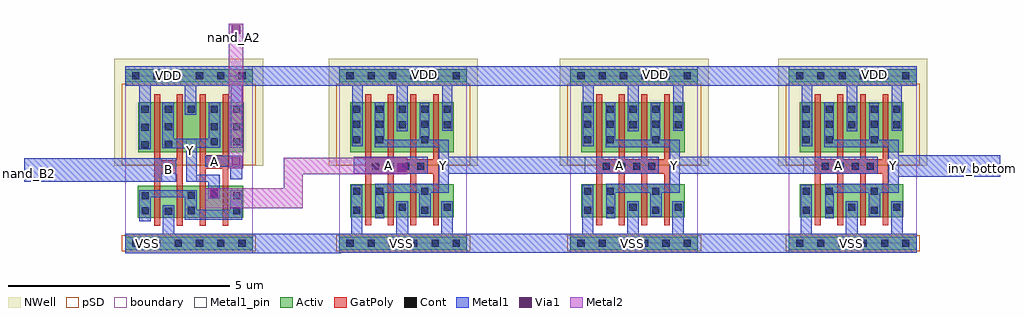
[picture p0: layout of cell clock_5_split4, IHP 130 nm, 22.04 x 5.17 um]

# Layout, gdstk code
import gdstk
lib = gdstk.Library(unit=1e-6, precision=1e-09)
def R(c, l, rs):  # rectangles x0, y0, x1, y1
    for r in rs: c.add(gdstk.rectangle(r[:2], r[2:], *l))
def A(c, l, x, y, w, h, nx, ny, dx, dy):  # array of equal rectangles
    R(c, l, [(x+i*dx, y+j*dy, x+i*dx+w, y+j*dy+h) for i in range(nx) for j in range(ny)])
def P(c, l, *ps):  # polygons
    for p in ps: c.add(gdstk.Polygon(p, *l))
Activ = (1, 0)
GatPoly = (5, 0)
Cont = (6, 0)
Metal1 = (8, 0)
Metal1_pin = (8, 2)
Metal2 = (10, 0)
pSD = (14, 0)
Via1 = (19, 0)
NWell = (31, 0)
boundary = (189, 4)

clock_5_split4 = lib.new_cell('clock_5_split4')
R(clock_5_split4, Activ, [(-1.173,-1.011,1.707,-0.711), (3.666,-1.011,6.546,-0.711), (8.881,-1.011,11.761,-0.711), (13.817,-1.011,16.697,-0.711), (-0.888,-0.286,1.497,0.434), (3.911,-0.271,6.251,0.469), (9.126,-0.271,11.466,0.469), (14.062,-0.271,16.402,0.469), (-0.873,1.199,1.507,2.319), (3.911,1.199,6.251,2.319), (9.126,1.199,11.466,2.319), (14.062,1.199,16.402,2.319), (-1.173,2.769,1.707,3.069), (3.666,2.769,6.546,3.069), (8.881,2.769,11.761,3.069), (13.817,2.769,16.697,3.069)])
P(clock_5_split4, GatPoly, [(-0.513,-0.466),(-0.513,2.499),(-0.383,2.499),(-0.383,1.014),(-0.003,1.014),(-0.003,2.499),(0.127,2.499),(0.127,-0.466),(-0.003,-0.466),(-0.003,0.704),(-0.383,0.704),(-0.383,-0.466)],
  [(0.517,-0.466),(0.517,2.499),(0.647,2.499),(0.647,1.129),(1.027,1.129),(1.027,2.499),(1.157,2.499),(1.157,-0.466),(1.027,-0.466),(1.027,0.824),(0.647,0.824),(0.647,-0.466)],
  [(4.251,-0.451),(4.251,2.499),(4.381,2.499),(4.381,1.039),(4.761,1.039),(4.761,2.499),(4.891,2.499),(4.891,1.039),(5.271,1.039),(5.271,2.499),(5.401,2.499),(5.401,1.039),(5.781,1.039),(5.781,2.499),(5.911,2.499),(5.911,-0.451),(5.781,-0.451),(5.781,0.709),(5.401,0.709),(5.401,-0.451),(5.271,-0.451),(5.271,0.709),(4.891,0.709),(4.891,-0.451),(4.761,-0.451),(4.761,0.709),(4.381,0.709),(4.381,-0.451)],
  [(9.466,-0.451),(9.466,2.499),(9.596,2.499),(9.596,1.039),(9.976,1.039),(9.976,2.499),(10.106,2.499),(10.106,1.039),(10.486,1.039),(10.486,2.499),(10.616,2.499),(10.616,1.039),(10.996,1.039),(10.996,2.499),(11.126,2.499),(11.126,-0.451),(10.996,-0.451),(10.996,0.709),(10.616,0.709),(10.616,-0.451),(10.486,-0.451),(10.486,0.709),(10.106,0.709),(10.106,-0.451),(9.976,-0.451),(9.976,0.709),(9.596,0.709),(9.596,-0.451)],
  [(14.402,-0.451),(14.402,2.499),(14.532,2.499),(14.532,1.039),(14.912,1.039),(14.912,2.499),(15.042,2.499),(15.042,1.039),(15.422,1.039),(15.422,2.499),(15.552,2.499),(15.552,1.039),(15.932,1.039),(15.932,2.499),(16.062,2.499),(16.062,-0.451),(15.932,-0.451),(15.932,0.709),(15.552,0.709),(15.552,-0.451),(15.422,-0.451),(15.422,0.709),(15.042,0.709),(15.042,-0.451),(14.912,-0.451),(14.912,0.709),(14.532,0.709),(14.532,-0.451)])
A(clock_5_split4, Cont, 0.427, -0.941, 0.16, 0.16, 3, 2, 0.48, 3.78)
A(clock_5_split4, Cont, 4.401, 0.794, 0.16, 0.16, 4, 1, 0.34, 0)
A(clock_5_split4, Cont, 9.616, 0.794, 0.16, 0.16, 4, 1, 0.34, 0)
A(clock_5_split4, Cont, 14.552, 0.794, 0.16, 0.16, 4, 1, 0.34, 0)
A(clock_5_split4, Cont, -0.273, 1.289, 0.16, 0.16, 1, 3, 0, 0.4)
A(clock_5_split4, Cont, 3.981, 2.084, 0.16, 0.16, 5, 1, 0.51, 0)
A(clock_5_split4, Cont, 9.196, 2.084, 0.16, 0.16, 5, 1, 0.51, 0)
A(clock_5_split4, Cont, 14.132, 2.084, 0.16, 0.16, 5, 1, 0.51, 0)
R(clock_5_split4, Cont, [(-1.013,-0.941,-0.853,-0.781), (-1.013,-0.941,-0.853,-0.781), (-0.533,-0.941,-0.373,-0.781), (-0.533,-0.941,-0.373,-0.781), (-0.053,-0.941,0.107,-0.781), (-0.053,-0.941,0.107,-0.781), (0.427,-0.941,0.587,-0.781), (3.826,-0.941,3.986,-0.781), (3.826,-0.941,3.986,-0.781), (4.306,-0.941,4.466,-0.781), (4.306,-0.941,4.466,-0.781), (4.786,-0.941,4.946,-0.781), (4.786,-0.941,4.946,-0.781), (5.266,-0.941,5.426,-0.781), (5.266,-0.941,5.426,-0.781), (5.746,-0.941,5.906,-0.781), (5.746,-0.941,5.906,-0.781), (6.226,-0.941,6.386,-0.781), (6.226,-0.941,6.386,-0.781), (9.041,-0.941,9.201,-0.781), (9.041,-0.941,9.201,-0.781), (9.521,-0.941,9.681,-0.781), (9.521,-0.941,9.681,-0.781), (10.001,-0.941,10.161,-0.781), (10.001,-0.941,10.161,-0.781), (10.481,-0.941,10.641,-0.781), (10.481,-0.941,10.641,-0.781), (10.961,-0.941,11.121,-0.781), (10.961,-0.941,11.121,-0.781), (11.441,-0.941,11.601,-0.781), (11.441,-0.941,11.601,-0.781), (13.977,-0.941,14.137,-0.781), (13.977,-0.941,14.137,-0.781), (14.457,-0.941,14.617,-0.781), (14.457,-0.941,14.617,-0.781), (14.937,-0.941,15.097,-0.781), (14.937,-0.941,15.097,-0.781), (15.417,-0.941,15.577,-0.781), (15.417,-0.941,15.577,-0.781), (15.897,-0.941,16.057,-0.781), (15.897,-0.941,16.057,-0.781), (16.377,-0.941,16.537,-0.781), (16.377,-0.941,16.537,-0.781), (-0.273,-0.216,-0.113,-0.056), (-0.793,-0.211,-0.633,-0.051), (1.267,-0.211,1.427,-0.051), (0.237,-0.201,0.397,-0.041), (3.981,-0.196,4.141,-0.036), (4.491,-0.196,4.651,-0.036), (5.511,-0.196,5.671,-0.036), (9.196,-0.196,9.356,-0.036), (9.706,-0.196,9.866,-0.036), (10.726,-0.196,10.886,-0.036), (14.132,-0.196,14.292,-0.036), (14.642,-0.196,14.802,-0.036), (15.662,-0.196,15.822,-0.036), (5.001,-0.126,5.161,0.034), (6.021,-0.126,6.181,0.034), (10.216,-0.126,10.376,0.034), (11.236,-0.126,11.396,0.034), (15.152,-0.126,15.312,0.034), (16.172,-0.126,16.332,0.034), (-0.798,0.129,-0.638,0.289), (1.267,0.129,1.427,0.289), (0.237,0.144,0.397,0.304), (0.762,0.144,0.922,0.304), (0.757,0.189,0.917,0.349), (3.981,0.229,4.141,0.389), (4.491,0.229,4.651,0.389), (5.511,0.229,5.671,0.389), (9.196,0.229,9.356,0.389), (9.706,0.229,9.866,0.389), (10.726,0.229,10.886,0.389), (14.132,0.229,14.292,0.389), (14.642,0.229,14.802,0.389), (15.662,0.229,15.822,0.389), (-0.273,0.779,-0.113,0.939), (0.757,0.899,0.917,1.059), (-0.803,1.279,-0.643,1.439), (0.757,1.349,0.917,1.509), (1.267,1.349,1.427,1.509), (3.981,1.394,4.141,1.554), (4.491,1.394,4.651,1.554), (5.511,1.394,5.671,1.554), (9.196,1.394,9.356,1.554), (9.706,1.394,9.866,1.554), (10.726,1.394,10.886,1.554), (14.132,1.394,14.292,1.554), (14.642,1.394,14.802,1.554), (15.662,1.394,15.822,1.554), (-0.803,1.679,-0.643,1.839), (0.757,1.689,0.917,1.849), (1.267,1.689,1.427,1.849), (5.001,1.734,5.161,1.894), (6.021,1.734,6.181,1.894), (10.216,1.734,10.376,1.894), (11.236,1.734,11.396,1.894), (15.152,1.734,15.312,1.894), (16.172,1.734,16.332,1.894), (3.981,1.744,4.141,1.904), (4.491,1.744,4.651,1.904), (5.511,1.744,5.671,1.904), (9.196,1.744,9.356,1.904), (9.706,1.744,9.866,1.904), (10.726,1.744,10.886,1.904), (14.132,1.744,14.292,1.904), (14.642,1.744,14.802,1.904), (15.662,1.744,15.822,1.904), (-0.803,2.089,-0.643,2.249), (0.237,2.089,0.397,2.249), (0.757,2.089,0.917,2.249), (1.267,2.089,1.427,2.249), (-1.013,2.839,-0.853,2.999), (-1.013,2.839,-0.853,2.999), (-0.533,2.839,-0.373,2.999), (-0.533,2.839,-0.373,2.999), (-0.053,2.839,0.107,2.999), (-0.053,2.839,0.107,2.999), (0.427,2.839,0.587,2.999), (3.826,2.839,3.986,2.999), (3.826,2.839,3.986,2.999), (4.306,2.839,4.466,2.999), (4.306,2.839,4.466,2.999), (4.786,2.839,4.946,2.999), (4.786,2.839,4.946,2.999), (5.266,2.839,5.426,2.999), (5.266,2.839,5.426,2.999), (5.746,2.839,5.906,2.999), (5.746,2.839,5.906,2.999), (6.226,2.839,6.386,2.999), (6.226,2.839,6.386,2.999), (9.041,2.839,9.201,2.999), (9.041,2.839,9.201,2.999), (9.521,2.839,9.681,2.999), (9.521,2.839,9.681,2.999), (10.001,2.839,10.161,2.999), (10.001,2.839,10.161,2.999), (10.481,2.839,10.641,2.999), (10.481,2.839,10.641,2.999), (10.961,2.839,11.121,2.999), (10.961,2.839,11.121,2.999), (11.441,2.839,11.601,2.999), (11.441,2.839,11.601,2.999), (13.977,2.839,14.137,2.999), (13.977,2.839,14.137,2.999), (14.457,2.839,14.617,2.999), (14.457,2.839,14.617,2.999), (14.937,2.839,15.097,2.999), (14.937,2.839,15.097,2.999), (15.417,2.839,15.577,2.999), (15.417,2.839,15.577,2.999), (15.897,2.839,16.057,2.999), (15.897,2.839,16.057,2.999), (16.377,2.839,16.537,2.999), (16.377,2.839,16.537,2.999)])
R(clock_5_split4, Metal1, [(-3.455,0.529,-0.023,1.059), (3.991,0.709,5.666,1.089), (6.081,0.709,10.881,1.089), (11.307,0.709,15.817,1.089)])
P(clock_5_split4, Metal1, [(-0.853,1.264),(-0.853,2.699),(-1.173,2.699),(-1.173,3.139),(3.715,3.139),(3.715,2.699),(1.477,2.699),(1.477,1.299),(1.217,1.299),(1.217,2.699),(0.437,2.699),(0.437,2.039),(0.177,2.039),(0.177,2.699),(-0.593,2.699),(-0.593,1.264)],
  [(-1.173,-1.081),(-1.173,-0.641),(-0.323,-0.641),(-0.323,-0.006),(-0.063,-0.006),(-0.063,-0.641),(3.709,-0.641),(3.709,-1.081)],
  [(9.166,1.329),(9.166,2.699),(6.473,2.699),(6.473,3.139),(11.761,3.139),(11.761,2.699),(11.431,2.699),(11.431,1.679),(11.201,1.679),(11.201,2.699),(10.421,2.699),(10.421,1.669),(10.181,1.669),(10.181,2.699),(9.411,2.699),(9.411,1.329)],
  [(6.473,-1.071),(6.473,-0.651),(9.151,-0.651),(9.151,0.464),(9.401,0.464),(9.401,-0.651),(10.161,-0.651),(10.161,0.084),(10.431,0.084),(10.431,-0.641),(11.186,-0.641),(11.186,0.089),(11.446,0.089),(11.446,-0.651),(11.761,-0.651),(11.761,-1.071)],
  [(14.102,1.329),(14.102,2.699),(11.646,2.699),(11.646,3.139),(16.697,3.139),(16.697,2.699),(16.367,2.699),(16.367,1.679),(16.137,1.679),(16.137,2.699),(15.357,2.699),(15.357,1.669),(15.117,1.669),(15.117,2.699),(14.347,2.699),(14.347,1.329)],
  [(11.696,-1.071),(11.696,-0.651),(14.087,-0.651),(14.087,0.464),(14.337,0.464),(14.337,-0.651),(15.097,-0.651),(15.097,0.084),(15.367,0.084),(15.367,-0.641),(16.122,-0.641),(16.122,0.089),(16.382,0.089),(16.382,-0.651),(16.697,-0.651),(16.697,-1.071)],
  [(14.632,-0.291),(14.632,0.479),(16.062,0.479),(16.062,1.309),(14.617,1.309),(14.617,2.319),(14.832,2.319),(14.832,1.479),(15.632,1.479),(15.632,2.314),(15.847,2.314),(15.847,1.479),(16.292,1.479),(16.292,1.13),(18.582,1.13),(18.582,0.644),(16.292,0.644),(16.292,0.284),(15.877,0.284),(15.877,-0.266),(15.622,-0.266),(15.622,0.284),(14.827,0.284),(14.827,-0.291)],
  [(9.696,-0.291),(9.696,0.479),(11.126,0.479),(11.126,1.309),(9.681,1.309),(9.681,2.319),(9.896,2.319),(9.896,1.479),(10.696,1.479),(10.696,2.314),(10.911,2.314),(10.911,1.479),(11.356,1.479),(11.356,0.284),(10.941,0.284),(10.941,-0.266),(10.686,-0.266),(10.686,0.284),(9.891,0.284),(9.891,-0.291)],
  [(1.197,0.579),(1.197,0.869),(0.642,0.869),(0.642,1.119),(1.472,1.119),(1.472,0.579)],
  [(0.707,0.139),(0.707,0.529),(0.207,0.529),(0.207,1.279),(-0.333,1.279),(-0.333,2.319),(-0.073,2.319),(-0.073,1.499),(0.717,1.499),(0.717,2.319),(0.977,2.319),(0.977,1.299),(0.447,1.299),(0.447,0.689),(0.967,0.689),(0.967,0.139)],
  [(-0.848,-0.361),(-0.848,0.339),(0.447,0.339),(0.447,-0.101),(1.197,-0.101),(1.197,0.339),(1.477,0.339),(1.477,-0.331),(0.177,-0.331),(0.177,0.174),(-0.588,0.174),(-0.588,-0.361)],
  [(4.481,-0.291),(4.481,0.479),(5.911,0.479),(5.911,1.309),(4.466,1.309),(4.466,2.319),(4.681,2.319),(4.681,1.479),(5.481,1.479),(5.481,2.314),(5.696,2.314),(5.696,1.479),(6.141,1.479),(6.141,0.284),(5.726,0.284),(5.726,-0.266),(5.471,-0.266),(5.471,0.284),(4.676,0.284),(4.676,-0.291)],
  [(3.951,1.329),(3.951,2.699),(3.666,2.699),(3.666,3.139),(6.546,3.139),(6.546,2.699),(6.216,2.699),(6.216,1.679),(5.986,1.679),(5.986,2.699),(5.206,2.699),(5.206,1.669),(4.966,1.669),(4.966,2.699),(4.196,2.699),(4.196,1.329)],
  [(3.666,-1.071),(3.666,-0.651),(3.936,-0.651),(3.936,0.464),(4.186,0.464),(4.186,-0.651),(4.946,-0.651),(4.946,0.084),(5.216,0.084),(5.216,-0.641),(5.971,-0.641),(5.971,0.089),(6.231,0.089),(6.231,-0.651),(6.546,-0.651),(6.546,-1.071)])
R(clock_5_split4, Metal1_pin, [(-1.173,-1.081,1.707,-0.641), (3.666,-1.071,6.546,-0.651), (8.881,-1.071,11.761,-0.651), (13.817,-1.071,16.697,-0.651), (5.911,0.284,6.141,1.479), (11.126,0.284,11.356,1.479), (16.062,0.284,16.292,1.479), (-0.353,0.529,-0.023,1.059), (0.207,0.529,0.447,1.499), (3.991,0.709,5.666,1.089), (9.206,0.709,10.881,1.089), (14.142,0.709,15.817,1.089), (0.642,0.869,1.472,1.119), (-1.173,2.699,1.707,3.139), (3.666,2.699,6.546,3.139), (8.881,2.699,11.761,3.139), (13.817,2.699,16.697,3.139)])
R(clock_5_split4, Metal2, [(1.17,0.837,1.495,4.09)])
P(clock_5_split4, Metal2, [(0.64,-0.071),(0.64,0.38),(2.413,0.38),(2.413,1.065),(5.196,1.065),(5.196,0.693),(2.844,0.693),(2.844,-0.071)])
R(clock_5_split4, pSD, [(-1.243,-1.041,1.777,-0.681), (3.596,-1.041,6.616,-0.681), (8.811,-1.041,11.831,-0.681), (13.747,-1.041,16.767,-0.681), (-1.243,0.899,1.777,2.739), (3.596,0.899,6.616,2.739), (8.811,0.899,11.831,2.739), (13.747,0.899,16.767,2.739)])
R(clock_5_split4, Via1, [(0.746,0.163,0.936,0.353), (4.975,0.753,5.165,0.943), (1.241,0.895,1.431,1.085), (1.241,3.875,1.431,4.065)])
R(clock_5_split4, NWell, [(-1.413,0.889,1.947,3.309), (3.426,0.889,6.786,3.309), (8.641,0.889,12.001,3.309), (13.577,0.889,16.937,3.309)])
R(clock_5_split4, boundary, [(-1.173,-0.861,1.707,2.919), (3.666,-0.861,6.546,2.919), (8.881,-0.861,11.761,2.919), (13.817,-0.861,16.697,2.919)])
clock_5_split4.add(gdstk.Label('Y', (0.307,1.244), layer=8, texttype=25))
clock_5_split4.add(gdstk.Label('VDD', (-0.203,2.919), layer=8, texttype=25))
clock_5_split4.add(gdstk.Label('A', (0.837,0.979), layer=8, texttype=25))
clock_5_split4.add(gdstk.Label('VSS', (-0.663,-0.861), layer=8, texttype=25))
clock_5_split4.add(gdstk.Label('B', (-0.193,0.794), layer=8, texttype=25))
clock_5_split4.add(gdstk.Label('A', (4.786,0.899), layer=8, texttype=25))
clock_5_split4.add(gdstk.Label('VDD', (5.591,2.939), layer=8, texttype=25))
clock_5_split4.add(gdstk.Label('Y', (6.026,0.894), layer=8, texttype=25))
clock_5_split4.add(gdstk.Label('VSS', (5.071,-0.856), layer=8, texttype=25))
clock_5_split4.add(gdstk.Label('A', (10.001,0.899), layer=8, texttype=25))
clock_5_split4.add(gdstk.Label('VDD', (10.806,2.939), layer=8, texttype=25))
clock_5_split4.add(gdstk.Label('Y', (11.241,0.894), layer=8, texttype=25))
clock_5_split4.add(gdstk.Label('VSS', (10.286,-0.856), layer=8, texttype=25))
clock_5_split4.add(gdstk.Label('A', (14.937,0.899), layer=8, texttype=25))
clock_5_split4.add(gdstk.Label('VDD', (15.742,2.939), layer=8, texttype=25))
clock_5_split4.add(gdstk.Label('Y', (16.177,0.894), layer=8, texttype=25))
clock_5_split4.add(gdstk.Label('VSS', (15.222,-0.856), layer=8, texttype=25))
clock_5_split4.add(gdstk.Label('inv_bottom', (18.185,0.83), layer=8, texttype=1))
clock_5_split4.add(gdstk.Label('nand_B2', (-3.331,0.714), layer=8, texttype=1))
clock_5_split4.add(gdstk.Label('nand_A2', (1.301,3.793), layer=10, texttype=1))

lib.write_gds('clock_5_split4.gds')
